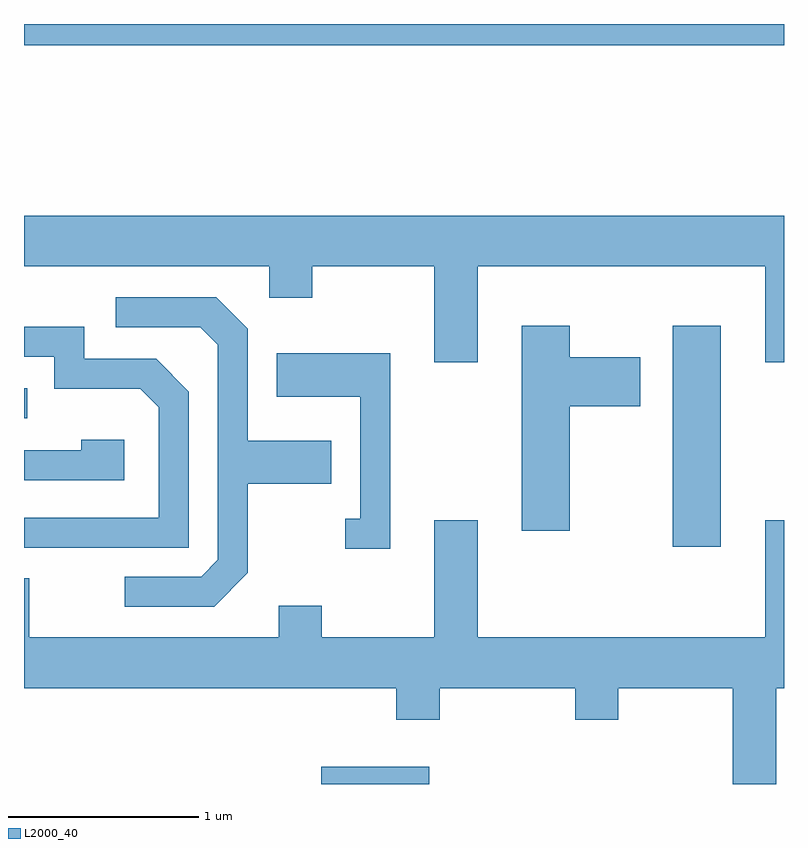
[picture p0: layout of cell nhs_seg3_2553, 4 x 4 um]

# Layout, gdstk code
import gdstk
lib = gdstk.Library(unit=1e-6, precision=1e-09)
def R(c, l, rs):  # rectangles x0, y0, x1, y1
    for r in rs: c.add(gdstk.rectangle(r[:2], r[2:], *l))
def P(c, l, *ps):  # polygons
    for p in ps: c.add(gdstk.Polygon(p, *l))
L2000_40 = (2000, 40)

nhs_seg3_2553 = lib.new_cell('nhs_seg3_2553')
R(nhs_seg3_2553, L2000_40, [(261.176,1189.892,261.744,1189.984), (263.026,1191.141,263.279,1192.304), (259.611,1191.816,259.628,1191.974), (259.611,1193.781,263.611,1193.892)])
P(nhs_seg3_2553, L2000_40, [(261.999,1192.616),(263.511,1192.616),(263.511,1192.111),(263.611,1192.111),(263.611,1192.884),(259.611,1192.884),(259.611,1192.616),(260.901,1192.616),(260.901,1192.451),(261.129,1192.451),(261.129,1192.616),(261.771,1192.616),(261.771,1192.111),(261.999,1192.111)],
  [(260.789,1191.004),(260.789,1191.471),(261.229,1191.471),(261.229,1191.699),(260.789,1191.699),(260.789,1192.287),(260.622,1192.454),(260.093,1192.454),(260.093,1192.296),(260.539,1192.296),(260.631,1192.204),(260.631,1191.072),(260.544,1190.984),(260.142,1190.984),(260.142,1190.826),(260.611,1190.826)],
  [(262.484,1191.881),(262.854,1191.881),(262.854,1192.139),(262.484,1192.139),(262.484,1192.304),(262.231,1192.304),(262.231,1191.226),(262.484,1191.226)],
  [(260.479,1191.957),(260.307,1192.129),(259.929,1192.129),(259.929,1192.299),(259.611,1192.299),(259.611,1192.141),(259.771,1192.141),(259.771,1191.971),(260.224,1191.971),(260.321,1191.874),(260.321,1191.294),(259.611,1191.294),(259.611,1191.136),(260.479,1191.136)],
  [(261.539,1192.159),(260.941,1192.159),(260.941,1191.931),(261.381,1191.931),(261.381,1191.289),(261.303,1191.289),(261.303,1191.131),(261.539,1191.131)],
  [(260.139,1191.704),(259.911,1191.704),(259.911,1191.649),(259.611,1191.649),(259.611,1191.491),(260.139,1191.491)],
  [(263.569,1190.396),(263.611,1190.396),(263.611,1191.279),(263.511,1191.279),(263.511,1190.664),(261.999,1190.664),(261.999,1191.279),(261.771,1191.279),(261.771,1190.664),(261.179,1190.664),(261.179,1190.829),(260.951,1190.829),(260.951,1190.664),(259.639,1190.664),(259.639,1190.974),(259.611,1190.974),(259.611,1190.396),(261.571,1190.396),(261.571,1190.231),(261.799,1190.231),(261.799,1190.396),(262.511,1190.396),(262.511,1190.231),(262.739,1190.231),(262.739,1190.396),(263.341,1190.396),(263.341,1189.892),(263.569,1189.892)])

lib.write_gds('nhs_seg3_2553.gds')
